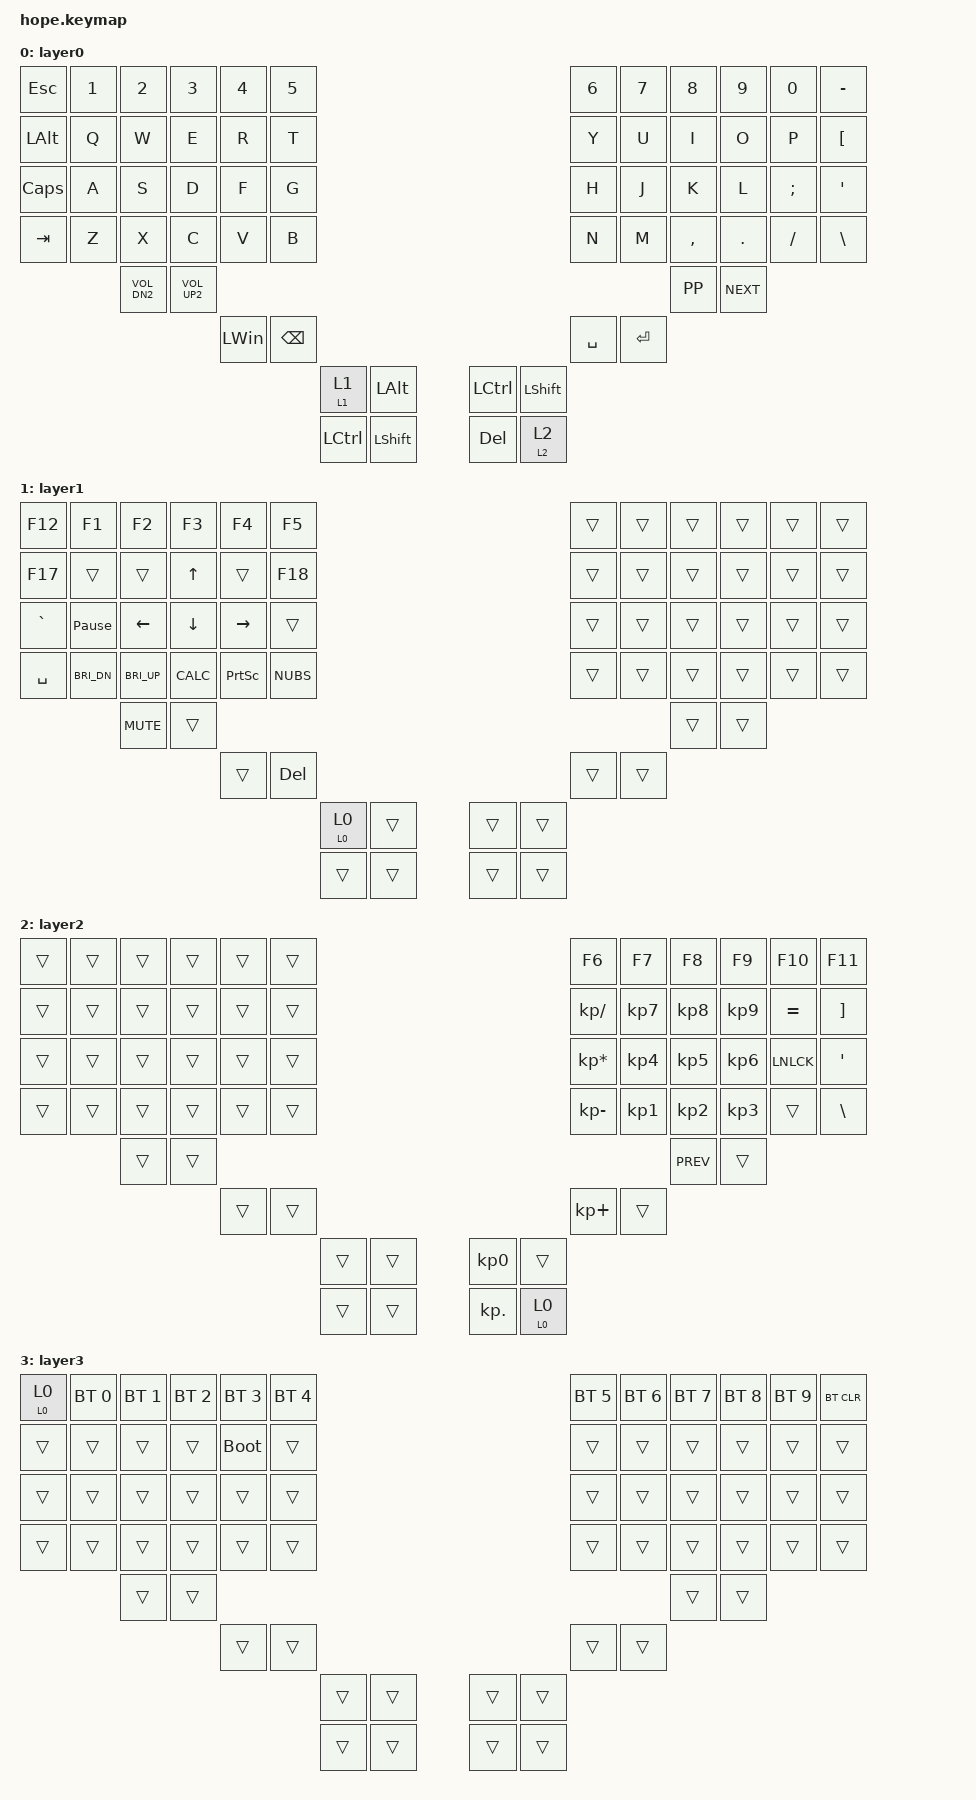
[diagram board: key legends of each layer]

  /*
  * Copyright (c) 2020 The ZMK Contributors
  *
  * SPDX-License-Identifier: MIT
  */

  #include <behaviors.dtsi>
  #include <dt-bindings/zmk/keys.h>
  #include <dt-bindings/zmk/bt.h>
  #include <dt-bindings/zmk/ext_power.h>
  #include "keys_it.h"
/ {
    behaviors {
        // Layer 0 return key: double-tap to lock on layer 0, hold for momentary
        lt0: layer_tap_0 {
            compatible = "zmk,behavior-hold-tap";
            #binding-cells = <2>;
            flavor = "tap-preferred";
            tapping-term-ms = <200>;
            quick-tap-ms = <200>;
            bindings = <&mo>, <&to>;
        };
        
        // Layer 1 switch: hold for momentary, double-tap to lock
        lt1: layer_tap_1 {
            compatible = "zmk,behavior-hold-tap";
            #binding-cells = <2>;
            flavor = "tap-preferred";
            tapping-term-ms = <200>;
            quick-tap-ms = <200>;
            bindings = <&mo>, <&tog>;
        };
        
        // Layer 2 switch: hold for momentary, double-tap to lock
        lt2: layer_tap_2 {
            compatible = "zmk,behavior-hold-tap";
            #binding-cells = <2>;
            flavor = "tap-preferred";
            tapping-term-ms = <200>;
            quick-tap-ms = <200>;
            bindings = <&mo>, <&tog>;
        };
        
        // BLE layer access (keep as tap-dance for multi-tap protection)
        btl: ble_layer {
            compatible = "zmk,behavior-tap-dance";
            #binding-cells = <0>;
            tapping-term-ms = <200>;
            bindings = <&kp ESC &kp ESC &kp ESC &kp ESC &to 3 >;
        };
    };

    keymap {
      compatible = "zmk,keymap";
  layer0 {
          bindings = <
            &kp ESC &kp N1 &kp N2 &kp N3 &kp N4 &kp N5     &kp N6 &kp N7 &kp N8 &kp N9 &kp N0 &kp MINUS 
            &kp LALT &kp Q &kp W &kp E &kp R &kp T        &kp Y &kp U &kp I &kp O &kp P &kp LBKT 
            &kp CAPS &kp A &kp S &kp D &kp F &kp G        &kp H &kp J &kp K &kp L &kp SEMICOLON &kp SQT 
            &kp TAB  &kp Z &kp X &kp C &kp V &kp B            &kp N &kp M &kp COMMA &kp DOT &kp FSLH &kp BSLH 

              &kp K_VOL_DN2 &kp K_VOL_UP2                 &kp K_PP &kp K_NEXT 
                      &kp LWIN &kp BSPC                  &kp SPACE &kp RET 
                      &lt1 1 1 &kp LALT                         &kp LCTRL  &kp LSHFT 
                      &kp LCTRL  &kp LSHFT            &kp DEL &lt2 2 2
          >;
        };layer1 {
          bindings = <
            &kp F12 &kp F1 &kp F2 &kp F3 &kp F4 &kp F5                                                              &trans &trans &trans &trans &trans &trans
            &kp F17 &trans &trans &kp UP &trans &kp F18                                                              &trans &trans &trans &trans &trans &trans 
            &kp GRAVE &kp PAUSE_BREAK &kp LEFT &kp DOWN &kp RIGHT &trans                                                   &trans &trans &trans &trans &trans &trans 
            &kp SPACE &kp C_BRI_DN &kp C_BRI_UP &kp K_CALC &kp PSCRN &kp NUBS          &trans &trans &trans &trans &trans &trans 

                &kp K_MUTE &trans                                                                                       &trans &trans 
                        &trans &kp DELETE                                                                                       &trans &trans 
                                &lt0 0 0 &trans                                                                                   &trans &trans 
                                &trans &trans                                                                                   &trans &trans
          >;
        };layer2 {
          bindings = <
          &trans &trans &trans &trans &trans &trans     &kp F6 &kp F7 &kp F8 &kp F9 &kp F10 &kp F11 
          &trans &trans &trans &trans &trans &trans     &kp KP_SLASH &kp KP_N7 &kp KP_N8 &kp KP_N9 &kp EQUAL &kp RBKT 
          &trans &trans &trans &trans &trans &trans     &kp KP_ASTERISK &kp KP_N4 &kp KP_N5 &kp KP_N6 &kp LNLCK &kp SQT 
          &trans &trans &trans &trans &trans &trans     &kp KP_MINUS &kp KP_N1 &kp KP_N2 &kp KP_N3 &trans &kp BSLH 
                        &trans &trans                                       &kp K_PREV &trans 
                        &trans &trans                                       &kp KP_PLUS &trans 
                        &trans &trans                                       &kp KP_N0 &trans 
                        &trans &trans                                       &kp KP_DOT &lt0 0 0
          >;
        };layer3 {
          bindings = <
          &lt0 0 0   &bt BT_SEL 0 &bt BT_SEL 1 &bt BT_SEL 2 &bt BT_SEL 3 &bt BT_SEL 4     &bt BT_SEL 5 &bt BT_SEL 6 &bt BT_SEL 7 &bt BT_SEL 8  &bt BT_SEL 9 &bt BT_CLR
          &trans &trans &trans &trans &bootloader &trans                                   &trans &trans &trans &trans &trans &trans
          &trans &trans &trans &trans &trans &trans                                   &trans &trans &trans &trans &trans &trans
          &trans &trans &trans &trans &trans &trans                                   &trans &trans &trans &trans &trans &trans 
                        &trans &trans                                                               &trans &trans               
                               &trans &trans                                                 &trans &trans                                   
                                    &trans &trans                                       &trans &trans         
                                    &trans &trans                                       &trans &trans
          >;
        };

        extra1 {
            status = "reserved";
        };
        extra2 {
            status = "reserved";
        };
    };

};
